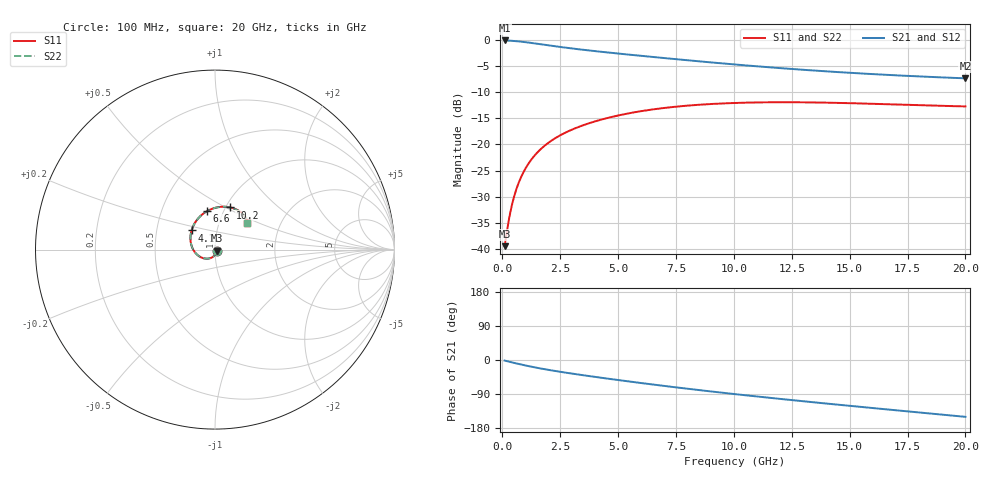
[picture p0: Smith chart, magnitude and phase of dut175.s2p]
! Touchstone file exported from HFSS 2023.1.0
!  File:  D:/Users/fzz/RDL_TSV/temp_RDL_TSV_175_1778754455.aedt
!  Generated:  6:39:08 %x4E0B%x5348  5%x6708 14, 2026
!  Design:  RDL_TSV
!  Project:  temp_RDL_TSV_175_1778754455
!  Setup:  Setup1
!  Solution:  Sweep
! Variables:
!  dtsv = 12.37um
!  hbump = 3um
!  htsv = 83.7um
!  ldown = 412.62um
!  lrdl = 159.41um
!  p = 40
!  p1 = 50.21um
!  rhole = 10um
!  subl = 1875.5um
!  t = 450um
!  tdown = 3.21um
!  trdl = 2.77um
!  viad = 10um
!  wdown = 29.46um
!  wrdl = 24.76um
!  xbump = 18um
# GHz S MA R 50.000000
! Terminal data exported
! Port[1] = TM1_1_T1
! Port[2] = TM1_4_T1
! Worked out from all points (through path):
!   200 points, 100 MHz to 20 GHz, reference 50 ohm
!   highest |S21| = -0.08 dB at 100 MHz (marker M1); lowest = -7.3 dB at 20 GHz (marker M2)
!   group delay of S21, straight-line fit = 19.6 ps
!   lowest |S11| = -39.5 dB at 100 MHz (marker M3), VSWR 1.02, Z = 50.9 - j0.634 ohm
!   |S11| at or under -10 dB: start of sweep to end of sweep
!   |S22| runs from -39.5 to -11.9 dB; largest |S21 - S12| = 1.7e-14
!   S11 on the Smith chart (normalised r, x): 100 MHz: 1.02, -0.01; 4.1 GHz: 0.75, +0.17; 6.6 GHz: 0.84, +0.37; 10.2 GHz: 1.05, +0.53; 20 GHz: 1.36, +0.42
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0.1  0.01061 -35.9  0.9905 -1.6  0.9905 -1.6  0.01061 -35.9
! Gamma 0 0 0 0
! Port Impedance 50 0 50 0
0.3  0.01988 -73.7  0.9862 -4.6  0.9862 -4.6  0.01988 -73.7
0.4  0.02544 -84.3  0.9831 -6.1  0.9831 -6.1  0.02545 -84.3
0.5  0.03114 -92.8  0.9794 -7.5  0.9794 -7.5  0.03114 -92.8
0.6  0.03684 -100.1  0.9752 -9.0  0.9752 -9.0  0.03685 -100.1
0.8  0.04804 -112.5  0.9654 -11.8  0.9654 -11.8  0.04804 -112.5
1.1  0.06394 -128.1  0.9479 -15.7  0.9479 -15.7  0.06394 -128.1
1.5  0.08314 -145.7  0.9219 -20.6  0.9219 -20.6  0.08313 -145.7
2  0.1041 -164.5  0.889 -26.1  0.889 -26.1  0.1041 -164.4
2.7  0.1289 173.7  0.847 -33.0  0.847 -33.0  0.1289 173.7
3.5  0.1529 153.4  0.8058 -40.3  0.8058 -40.3  0.1528 153.5
4.1  0.1686 140.7  0.7788 -45.4  0.7788 -45.4  0.1685 140.8
5.3  0.1954 119.9  0.7309 -55.3  0.7309 -55.3  0.1953 119.9
6.6  0.218 102.3  0.6847 -65.5  0.6847 -65.5  0.2178 102.3
6.8  0.2209 99.9  0.678 -67.0  0.678 -67.0  0.2207 100.0
8.3  0.2382 84.6  0.6309 -78.0  0.6309 -78.0  0.238 84.6
10.1  0.2498 70.5  0.5816 -90.4  0.5816 -90.4  0.2495 70.5
10.2  0.2502 69.8  0.5791 -91.0  0.5791 -91.0  0.2499 69.8
11.8  0.2535 60.4  0.5423 -101.4  0.5423 -101.4  0.2532 60.4
13.4  0.2525 53.0  0.5113 -111.3  0.5113 -111.3  0.2522 53.1
16.7  0.2425 43.4  0.4628 -130.9  0.4628 -130.9  0.2421 43.5
20  0.2313 39.9  0.4296 -150.0  0.4296 -150.0  0.231 39.9
